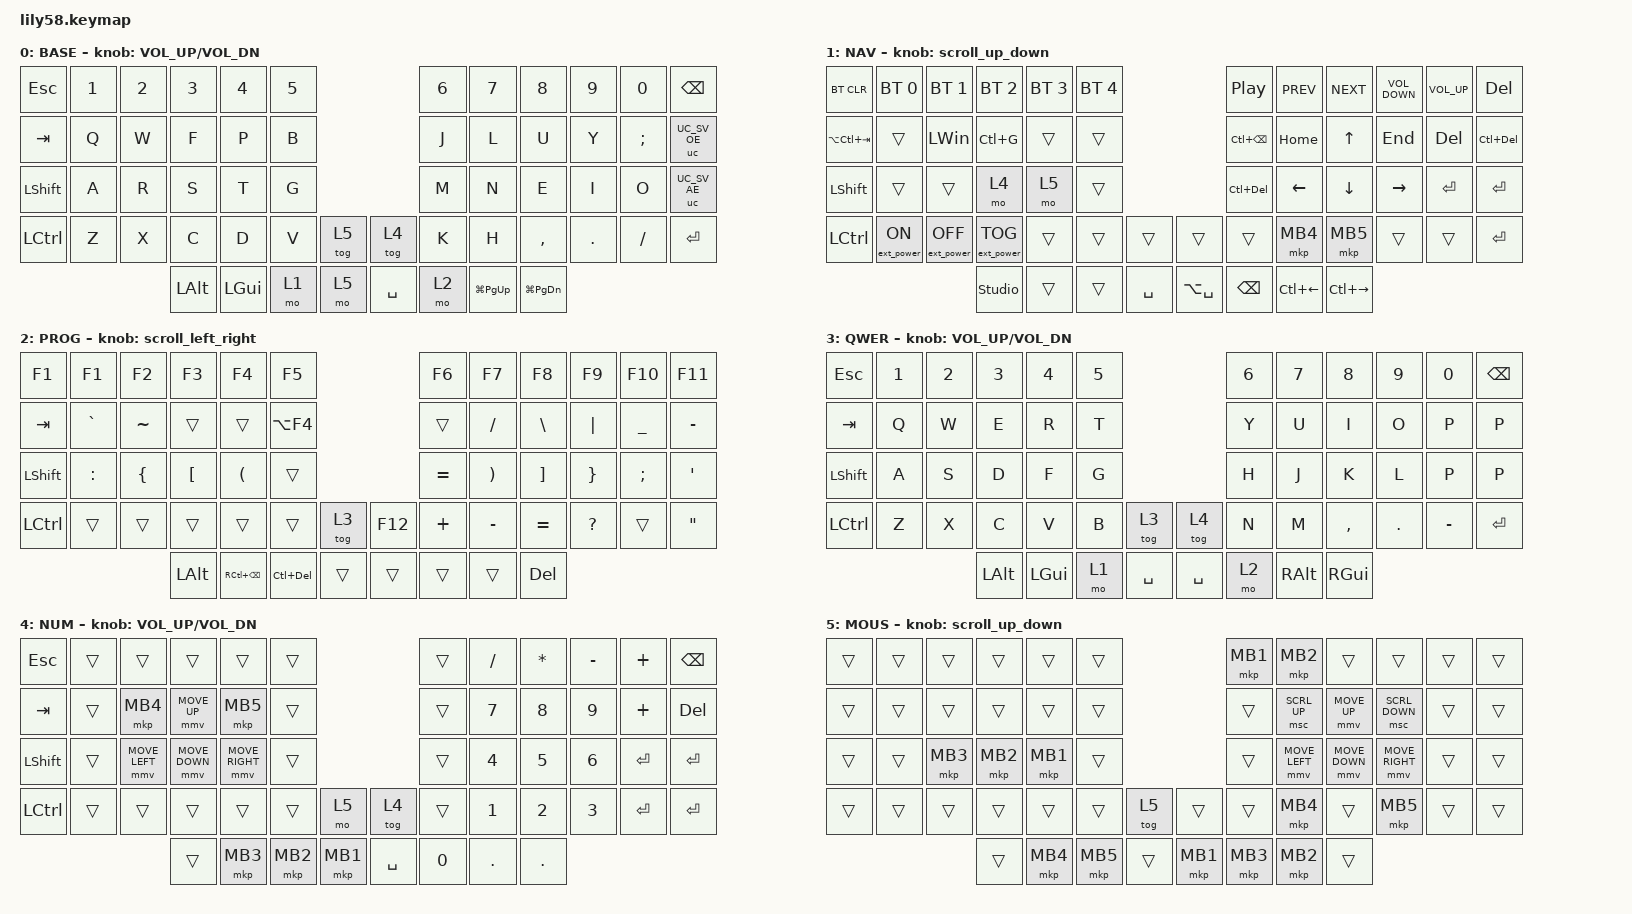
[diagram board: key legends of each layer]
#include <behaviors.dtsi>
#include <dt-bindings/zmk/bt.h>
#include <dt-bindings/zmk/ext_power.h>
#include <dt-bindings/zmk/keys.h>
#include <dt-bindings/zmk/pointing.h>
#include <zmk-helpers/helper.h>
#include <zmk-helpers/key-labels/34.h>
#include <behaviors/unicode.dtsi>

#define ZMK_POINTING_DEFAULT_SCRL_VAL 100
#define ZMK_POINTING_DEFAULT_MOVE_VAL 2400

&mmv {
    acceleration-exponent = <1>;
    time-to-max-speed-ms = <500>;
    delay-ms = <0>;
};

&msc {
    time-to-max-speed-ms = <300>;
    acceleration-exponent = <0>;
    delay-ms = <0>;
};

/ {
    behaviors {
        scroll_up_down: Mouse_Scroller {
            compatible = "zmk,behavior-sensor-rotate";
            label = "Scroller As Mouse Wheel";
            #sensor-binding-cells = <0>;
            tap-ms = <20>;
            bindings = <&msc SCRL_DOWN>, <&msc SCRL_UP>;
        };

        scroll_left_right: Mouse_Scroller_HZ {
            compatible = "zmk,behavior-sensor-rotate";
            label = "Scroller As Mouse Wheel Horizontal";
            #sensor-binding-cells = <0>;
            tap-ms = <20>;
            bindings = <&msc SCRL_LEFT>, <&msc SCRL_RIGHT>;
        };
    };

    keymap {
        compatible = "zmk,keymap";

        base {
            display-name = "BASE";
            // | ESC   | 1 | 2 | 3   | 4   | 5   |                    | 6    | 7         | 8         | 9 | 0 | BSPC        |
            // | TAB   | Q | W | F   | P   | B   |                    | J    | L         | U         | Y | ; | UC UC_SV_OE |
            // | SHIFT | A | R | S   | T   | G   |                    | M    | N         | E         | I | O | UC UC_SV_AE |
            // | CTRL  | Z | X | C   | D   | V   | TOG MOUS | TOG NUM | K    | H         | ,         | . | / | ENTER       |
            //                 | ALT | GUI | NAV | MOUS     | SPC     | PROG | LG(PG_UP) | LG(PG_DN) |
            bindings = <
                &kp ESC           &kp N1  &kp N2  &kp N3    &kp N4    &kp N5                     &kp N6  &kp N7         &kp N8         &kp N9      &kp N0         &kp BACKSPACE
                &kp TAB           &kp Q   &kp W   &kp F     &kp P     &kp B                      &kp J   &kp L          &kp U          &kp Y       &kp SEMICOLON  &uc UC_SV_OE
                &kp LEFT_SHIFT    &kp A   &kp R   &kp S     &kp T     &kp G                      &kp M   &kp N          &kp E          &kp I       &kp O          &uc UC_SV_AE
                &kp LEFT_CONTROL  &kp Z   &kp X   &kp C     &kp D     &kp V   &tog 5  &tog 4     &kp K   &kp H          &kp COMMA      &kp PERIOD  &kp SLASH      &kp ENTER
                                                  &kp LALT  &kp LGUI  &mo 1   &mo 5   &kp SPACE  &mo 2   &kp LG(PG_UP)  &kp LG(PG_DN)
            >;

            sensor-bindings = <&inc_dec_kp C_VOL_UP C_VOL_DN>;
        };

        navigation {
            display-name = "NAV";
            // | BTCLR       | BT1             | BT2              | BT3              | BT4  | BT5 |                 | PLAY          | PREV     | NEXT      | VOL-  | VOL+  | DEL        |
            // | LA(LC(TAB)) |                 | GUI              | LC(G)            |      |     |                 | LC(BACKSPACE) | HOME     | UP        | END   | DEL   | LC(DELETE) |
            // | SHIFT       |                 |                  | NUM              | MOUS |     |                 | LC(DELETE)    | LEFT     | DOWN      | RIGHT | ENTER | ENTER      |
            // | CTRL        | EXT_POWER EP_ON | EXT_POWER EP_OFF | EXT_POWER EP_TOG |      |     |     |           |               | MKP MB4  | MKP MB5   |       |       | ENTER      |
            //                                                    | STUDIO_UNLOCK    |      |     | SPC | LA(SPACE) | BSPC          | LC(LEFT) | LC(RIGHT) |
            bindings = <
                &bt BT_CLR       &bt BT_SEL 0      &bt BT_SEL 1       &bt BT_SEL 2       &bt BT_SEL 3  &bt BT_SEL 4                            &kp C_PLAY_PAUSE   &kp C_PREV    &kp C_NEXT     &kp C_VOLUME_DOWN  &kp C_VOLUME_UP  &kp DELETE
                &kp LA(LC(TAB))  &trans            &kp LEFT_WIN       &kp LC(G)          &trans        &trans                                  &kp LC(BACKSPACE)  &kp HOME      &kp UP_ARROW   &kp END            &kp DELETE       &kp LC(DELETE)
                &kp LSHIFT       &trans            &trans             &mo 4              &mo 5         &trans                                  &kp LC(DELETE)     &kp LEFT      &kp DOWN       &kp RIGHT          &kp ENTER        &kp ENTER
                &kp LCTRL        &ext_power EP_ON  &ext_power EP_OFF  &ext_power EP_TOG  &trans        &trans        &trans     &trans         &trans             &mkp MB4      &mkp MB5       &trans             &trans           &kp ENTER
                                                                      &studio_unlock     &trans        &trans        &kp SPACE  &kp LA(SPACE)  &kp BACKSPACE      &kp LC(LEFT)  &kp LC(RIGHT)
            >;

            sensor-bindings = <&scroll_up_down>;
        };

        programming {
            display-name = "PROG";
            // | F1    | F1 | F2 | F3  | F4            | F5         |                | F6 | F7 | F8  | F9 | F10 | F11 |
            // | TAB   | `  | ~  |     |               | LA(F4)     |                |    | /  | \   | |  | _   | -   |
            // | SHIFT | :  | {  | [   | (             |            |                | =  | )  | ]   | }  | ;   | '   |
            // | CTRL  |    |    |     |               |            | TOG QWER | F12 | +  | -  | =   | ?  |     | "   |
            //                   | ALT | RC(BACKSPACE) | LC(DELETE) |          |     |    |    | DEL |
            bindings = <
                &kp F1          &kp F1     &kp F2          &kp F3            &kp F4                &kp F5                           &kp F6     &kp F7                 &kp F8             &kp F9           &kp F10        &kp F11
                &kp TAB         &kp GRAVE  &kp TILDE       &trans            &trans                &kp LA(F4)                       &trans     &kp SLASH              &kp BACKSLASH      &kp PIPE         &kp UNDER      &kp MINUS
                &kp LEFT_SHIFT  &kp COLON  &kp LEFT_BRACE  &kp LEFT_BRACKET  &kp LEFT_PARENTHESIS  &trans                           &kp EQUAL  &kp RIGHT_PARENTHESIS  &kp RIGHT_BRACKET  &kp RIGHT_BRACE  &kp SEMICOLON  &kp SQT
                &kp LCTRL       &trans     &trans          &trans            &trans                &trans          &tog 3  &kp F12  &kp PLUS   &kp MINUS              &kp EQUAL          &kp QUESTION     &trans         &kp DOUBLE_QUOTES
                                                           &kp LEFT_ALT      &kp RC(BACKSPACE)     &kp LC(DELETE)  &trans  &trans   &trans     &trans                 &kp DELETE
            >;

            sensor-bindings = <&scroll_left_right>;
        };

        qwerty {
            display-name = "QWER";
            // | ESC   | 1 | 2 | 3   | 4   | 5   |                    | 6    | 7     | 8   | 9 | 0 | BSPC  |
            // | TAB   | Q | W | E   | R   | T   |                    | Y    | U     | I   | O | P | P     |
            // | SHIFT | A | S | D   | F   | G   |                    | H    | J     | K   | L | P | P     |
            // | CTRL  | Z | X | C   | V   | B   | TOG QWER | TOG NUM | N    | M     | ,   | . | - | ENTER |
            //                 | ALT | GUI | NAV | SPC      | SPC     | PROG | ALTGR | GUI |
            bindings = <
                &kp ESC    &kp N1  &kp N2  &kp N3    &kp N4    &kp N5                        &kp N6  &kp N7    &kp N8     &kp N9   &kp N0     &kp BSPC
                &kp TAB    &kp Q   &kp W   &kp E     &kp R     &kp T                         &kp Y   &kp U     &kp I      &kp O    &kp P      &kp P
                &kp LSHFT  &kp A   &kp S   &kp D     &kp F     &kp G                         &kp H   &kp J     &kp K      &kp L    &kp P      &kp P
                &kp LCTRL  &kp Z   &kp X   &kp C     &kp V     &kp B   &tog 3     &tog 4     &kp N   &kp M     &kp COMMA  &kp DOT  &kp MINUS  &kp ENTER
                                           &kp LALT  &kp LGUI  &mo 1   &kp SPACE  &kp SPACE  &mo 2   &kp RALT  &kp RGUI
            >;

            sensor-bindings = <&inc_dec_kp C_VOL_UP C_VOL_DN>;
        };

        numpad {
            display-name = "NUM";
            // | ESC   |   |               |               |                |         |                   |   | / | * | - | +     | BSPC  |
            // | TAB   |   | MKP MB4       | MMV MOVE_UP   | MKP MB5        |         |                   |   | 7 | 8 | 9 | +     | DEL   |
            // | SHIFT |   | MMV MOVE_LEFT | MMV MOVE_DOWN | MMV MOVE_RIGHT |         |                   |   | 4 | 5 | 6 | ENTER | ENTER |
            // | CTRL  |   |               |               |                |         | MOUS    | TOG NUM |   | 1 | 2 | 3 | ENTER | ENTER |
            //                             |               | MKP MB3        | MKP MB2 | MKP MB1 | SPC     | 0 | . | . |
            bindings = <
                &kp ESC    &trans  &trans          &trans          &trans           &trans                         &trans  &kp SLASH  &kp ASTERISK  &kp MINUS  &kp PLUS   &kp BSPC
                &kp TAB    &trans  &mkp MB4        &mmv MOVE_UP    &mkp MB5         &trans                         &trans  &kp N7     &kp N8        &kp N9     &kp PLUS   &kp DEL
                &kp LSHFT  &trans  &mmv MOVE_LEFT  &mmv MOVE_DOWN  &mmv MOVE_RIGHT  &trans                         &trans  &kp N4     &kp N5        &kp N6     &kp ENTER  &kp ENTER
                &kp LCTRL  &trans  &trans          &trans          &trans           &trans    &mo 5     &tog 4     &trans  &kp N1     &kp N2        &kp N3     &kp ENTER  &kp ENTER
                                                   &trans          &mkp MB3         &mkp MB2  &mkp MB1  &kp SPACE  &kp N0  &kp DOT    &kp DOT
            >;

            sensor-bindings = <&inc_dec_kp C_VOL_UP C_VOL_DN>;
        };

        mousing {
            display-name = "MOUS";
            // |   |   |         |         |         |         |                    | MKP MB1 | MKP MB2       |               |                |   |   |
            // |   |   |         |         |         |         |                    |         | MSC SCRL_UP   | MMV MOVE_UP   | MSC SCRL_DOWN  |   |   |
            // |   |   | MKP MB3 | MKP MB2 | MKP MB1 |         |                    |         | MMV MOVE_LEFT | MMV MOVE_DOWN | MMV MOVE_RIGHT |   |   |
            // |   |   |         |         |         |         | TOG MOUS |         |         | MKP MB4       |               | MKP MB5        |   |   |
            //                   |         | MKP MB4 | MKP MB5 |          | MKP MB1 | MKP MB3 | MKP MB2       |               |
            bindings = <
                &trans  &trans  &trans    &trans    &trans    &trans                      &mkp MB1  &mkp MB2        &trans          &trans           &trans  &trans
                &trans  &trans  &trans    &trans    &trans    &trans                      &trans    &msc SCRL_UP    &mmv MOVE_UP    &msc SCRL_DOWN   &trans  &trans
                &trans  &trans  &mkp MB3  &mkp MB2  &mkp MB1  &trans                      &trans    &mmv MOVE_LEFT  &mmv MOVE_DOWN  &mmv MOVE_RIGHT  &trans  &trans
                &trans  &trans  &trans    &trans    &trans    &trans    &tog 5  &trans    &trans    &mkp MB4        &trans          &mkp MB5         &trans  &trans
                                          &trans    &mkp MB4  &mkp MB5  &trans  &mkp MB1  &mkp MB3  &mkp MB2        &trans
            >;

            sensor-bindings = <&scroll_up_down>;
        };

        extra_1 {
            status = "reserved";
        };

        extra_2 {
            status = "reserved";
        };
    };
};
